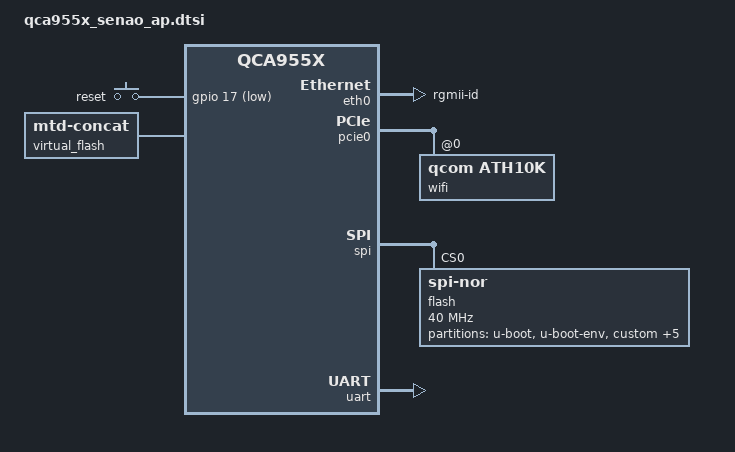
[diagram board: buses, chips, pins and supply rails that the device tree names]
// SPDX-License-Identifier: GPL-2.0-or-later OR MIT

#include "qca955x.dtsi"

#include <dt-bindings/gpio/gpio.h>
#include <dt-bindings/input/input.h>
#include <dt-bindings/mtd/partitions/uimage.h>

/ {
	aliases {
		label-mac-device = &eth0;
		led-boot = &led_power;
		led-failsafe = &led_power;
		led-running = &led_power;
		led-upgrade = &led_power;
	};

	keys {
		compatible = "gpio-keys";

		reset {
			label = "reset";
			gpios = <&gpio 17 GPIO_ACTIVE_LOW>;
			debounce-interval = <60>;
			linux,code = <KEY_RESTART>;
		};
	};

	virtual_flash {
		compatible = "mtd-concat";

		devices = <&fwconcat0 &fwconcat1>;

		partitions {
			compatible = "fixed-partitions";
			#address-cells = <1>;
			#size-cells = <1>;

			partition@0 {
				compatible = "openwrt,uimage", "denx,uimage";
				openwrt,ih-magic = <IH_MAGIC_OKLI>;
				label = "firmware";
				reg = <0x0 0x0>;
			};
		};
	};
};

&eth0 {
	status = "okay";

	mtd-mac-address = <&art 0x0>;

	phy-mode = "rgmii-id";

	pll-data = <0x82000000 0x80000101 0x80001313>;
};

&pcie0 {
	status = "okay";

	wifi@0,0,0 {
		compatible = "qcom,ath10k";
		reg = <0x0 0 0 0 0>;
		qca,no-eeprom;
	};
};

&spi {
	status = "okay";

	flash@0 {
		compatible = "jedec,spi-nor";
		reg = <0>;
		spi-max-frequency = <40000000>;

		partitions {
			compatible = "fixed-partitions";
			#address-cells = <1>;
			#size-cells = <1>;

			partition@0 {
				label = "u-boot";
				reg = <0x000000 0x040000>;
				read-only;
			};

			partition@40000 {
				label = "u-boot-env";
				reg = <0x040000 0x010000>;
			};

			partition@50000 {
				label = "custom";
				reg = <0x050000 0x050000>;
				read-only;
			};

			partition@a0000 {
				label = "loader";
				reg = <0x0a0000 0x010000>;
			};

			fwconcat1: partition@b0000 {
				label = "fwconcat1";
				reg = <0x0b0000 0x180000>;
			};

			fwconcat0: partition@230000 {
				label = "fwconcat0";
				reg = <0x230000 0xb40000>;
			};

			partition@d70000 {
				label = "failsafe";
				reg = <0xd70000 0x280000>;
				read-only;
			};

			art: partition@ff0000 {
				label = "art";
				reg = <0xff0000 0x010000>;
				read-only;
			};
		};
	};
};

&uart {
	status = "okay";
};
